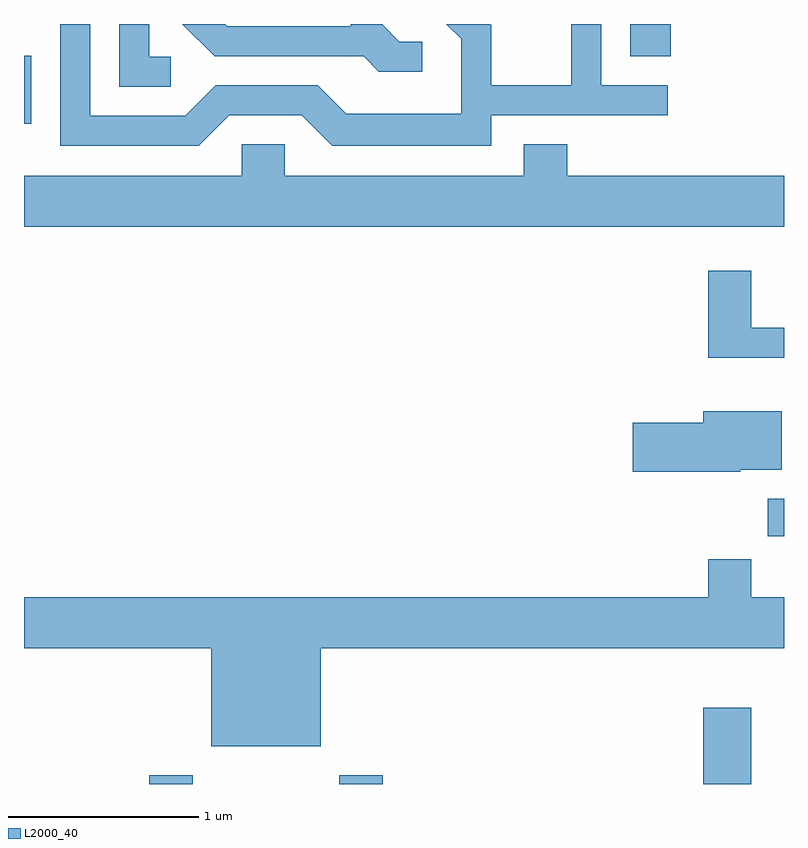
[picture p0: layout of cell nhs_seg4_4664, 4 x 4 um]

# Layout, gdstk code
import gdstk
lib = gdstk.Library(unit=1e-6, precision=1e-09)
def R(c, l, rs):  # rectangles x0, y0, x1, y1
    for r in rs: c.add(gdstk.rectangle(r[:2], r[2:], *l))
def P(c, l, *ps):  # polygons
    for p in ps: c.add(gdstk.Polygon(p, *l))
L2000_40 = (2000, 40)

nhs_seg4_4664 = lib.new_cell('nhs_seg4_4664')
R(nhs_seg4_4664, L2000_40, [(322.271,1333.982,322.499,1334.029), (323.271,1333.982,323.499,1334.029), (325.186,1333.982,325.439,1334.384), (325.526,1335.286,325.611,1335.484), (321.611,1337.458,321.649,1337.814), (324.801,1337.811,325.014,1337.982)])
P(nhs_seg4_4664, L2000_40, [(322.383,1337.809),(322.269,1337.809),(322.269,1337.982),(322.111,1337.982),(322.111,1337.651),(322.383,1337.651)],
  [(323.708,1337.889),(323.587,1337.889),(323.499,1337.977),(323.499,1337.982),(323.331,1337.982),(323.331,1337.969),(322.682,1337.969),(322.669,1337.982),(322.443,1337.982),(322.614,1337.811),(323.399,1337.811),(323.479,1337.731),(323.708,1337.731)],
  [(322.692,1337.501),(323.074,1337.501),(323.234,1337.341),(324.069,1337.341),(324.069,1337.501),(324.998,1337.501),(324.998,1337.659),(324.649,1337.659),(324.649,1337.982),(324.491,1337.982),(324.491,1337.659),(324.069,1337.659),(324.069,1337.977),(324.064,1337.982),(323.833,1337.982),(323.911,1337.904),(323.911,1337.509),(323.307,1337.509),(323.157,1337.659),(322.619,1337.659),(322.459,1337.499),(321.959,1337.499),(321.959,1337.982),(321.801,1337.982),(321.801,1337.341),(322.532,1337.341)],
  [(325.611,1337.184),(324.469,1337.184),(324.469,1337.349),(324.241,1337.349),(324.241,1337.184),(322.984,1337.184),(322.984,1337.349),(322.756,1337.349),(322.756,1337.184),(321.611,1337.184),(321.611,1336.916),(325.611,1336.916)],
  [(325.611,1336.384),(325.439,1336.384),(325.439,1336.684),(325.211,1336.684),(325.211,1336.226),(325.611,1336.226)],
  [(325.38,1335.636),(325.599,1335.636),(325.599,1335.944),(325.186,1335.944),(325.186,1335.884),(324.816,1335.884),(324.816,1335.626),(325.38,1335.626)],
  [(323.174,1334.696),(325.611,1334.696),(325.611,1334.964),(325.439,1334.964),(325.439,1335.164),(325.211,1335.164),(325.211,1334.964),(321.611,1334.964),(321.611,1334.696),(322.596,1334.696),(322.596,1334.181),(323.174,1334.181)])

lib.write_gds('nhs_seg4_4664.gds')
